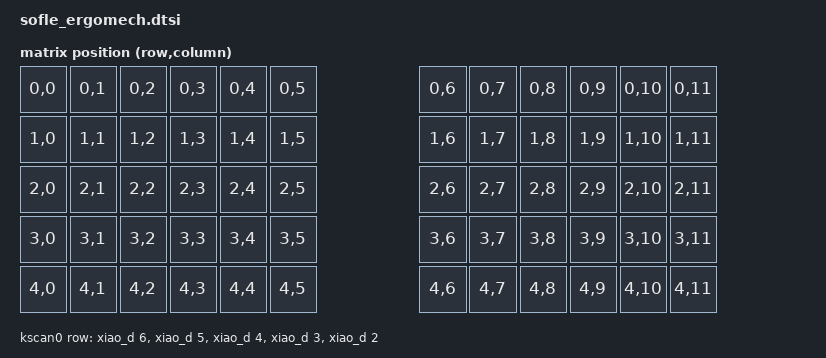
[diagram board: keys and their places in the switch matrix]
/*
 * Copyright (c) 2020 Pete Johanson, Ryan Cross
 *
 * SPDX-License-Identifier: MIT
 */

 #include <dt-bindings/zmk/matrix_transform.h>
 #include "sofle_ergomech-layouts.dtsi"



 &pinctrl {
    spi0_default: spi0_default {
        group1 {
            psels = <NRF_PSEL(SPIM_SCK, 0, 15)>,
                <NRF_PSEL(SPIM_MOSI, 0, 10)>,
                <NRF_PSEL(SPIM_MISO, 1, 1)>;
        };
    };
    spi0_sleep: spi0_sleep {
        group1 {
            psels = <NRF_PSEL(SPIM_SCK, 0, 15)>,
                <NRF_PSEL(SPIM_MOSI, 0, 10)>,
                <NRF_PSEL(SPIM_MISO, 1, 1)>;
            low-power-enable;
        };
    };
};

nice_view_spi: &spi0 {
    compatible = "nordic,nrf-spim";
    pinctrl-0 = <&spi0_default>;
    pinctrl-1 = <&spi0_sleep>;
    pinctrl-names = "default", "sleep";
    cs-gpios = <&gpio0 19 GPIO_ACTIVE_HIGH>;
};


 &uicr {
    nfct-pins-as-gpios;
};



 / {
     chosen {
         zmk,kscan = &kscan0;
         zmk,physical-layout = &layout_0;
              };
 
     default_transform: keymap_transform_0 {
         compatible = "zmk,matrix-transform";
         columns = <16>;
         rows = <4>;
 // | SW6  | SW5  | SW4  | SW3  | SW2  | SW1  |                 | SW1  | SW2  | SW3  | SW4  | SW5  | SW6  |
 // | SW12 | SW11 | SW10 | SW9  | SW8  | SW7  |                 | SW7  | SW8  | SW9  | SW10 | SW11 | SW12 |
 // | SW18 | SW17 | SW16 | SW15 | SW14 | SW13 |                 | SW13 | SW14 | SW15 | SW16 | SW17 | SW18 |
 // | SW24 | SW23 | SW22 | SW21 | SW20 | SW19 | SW25 |          | SW19 | SW20 | SW21 | SW22 | SW23 | SW24 |
 //               | SW30 | SW29 | SW28 | SW27 | SW26 |   | SW26 | SW27 | SW28 | SW29 | SW30 |
 //                                                        | SW31 | SW32 | SW33 | SW34 | SW35 |
         map = <
 RC(0,0) RC(0,1) RC(0,2) RC(0,3) RC(0,4) RC(0,5)                 RC(0,6) RC(0,7) RC(0,8)  RC(0,9) RC(0,10) RC(0,11)
 RC(1,0) RC(1,1) RC(1,2) RC(1,3) RC(1,4) RC(1,5)                 RC(1,6) RC(1,7) RC(1,8)  RC(1,9) RC(1,10) RC(1,11)
 RC(2,0) RC(2,1) RC(2,2) RC(2,3) RC(2,4) RC(2,5)                 RC(2,6) RC(2,7) RC(2,8)  RC(2,9) RC(2,10) RC(2,11)
 RC(3,0) RC(3,1) RC(3,2) RC(3,3) RC(3,4) RC(3,5)                 RC(3,6) RC(3,7) RC(3,8)  RC(3,9) RC(3,10) RC(3,11)                                    
     RC(4,0) RC(4,1) RC(4,2) RC(4,3) RC(4,4) RC(4,5) RC(4,6) RC(4,7) RC(4,8) RC(4,9)  RC(4,10) RC(4,11)
         >;
     };
 
     kscan0: kscan {
         compatible = "zmk,kscan-gpio-matrix";
         wakeup-source;
 
         diode-direction = "col2row";
 
         row-gpios
             = <&xiao_d 6 (GPIO_ACTIVE_HIGH | GPIO_PULL_DOWN)>
             , <&xiao_d 5 (GPIO_ACTIVE_HIGH | GPIO_PULL_DOWN)>
             , <&xiao_d 4 (GPIO_ACTIVE_HIGH | GPIO_PULL_DOWN)>
             , <&xiao_d 3 (GPIO_ACTIVE_HIGH | GPIO_PULL_DOWN)>
             , <&xiao_d 2 (GPIO_ACTIVE_HIGH | GPIO_PULL_DOWN)>
             ;
     };
 
 };
